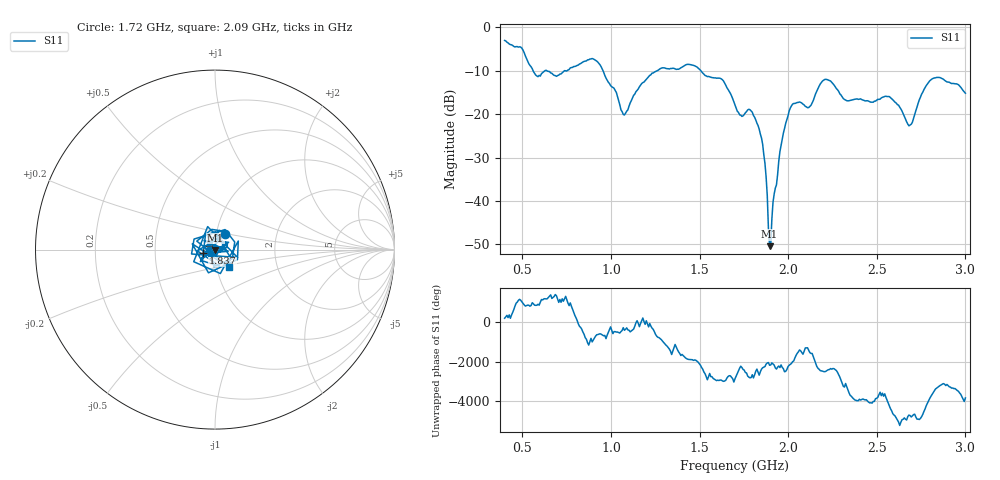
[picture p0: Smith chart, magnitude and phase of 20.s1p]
!Created with skrf (http://scikit-rf.org).
# Hz S RI R 50.0
!freq ReS11 ImS11
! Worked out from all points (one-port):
!   401 points, 400 MHz to 3 GHz, reference 50 ohm
!   lowest |S11| = -50.4 dB at 1.895 GHz (marker M1), VSWR 1.01, Z = 50.3 - j0.139 ohm
!   |S11| at or under -10 dB: 638.5 MHz to 736.9 MHz (98.46 MHz wide, 14.3 % of centre); 955.3 MHz to 1.26 GHz (304.8 MHz wide, 27.5 % of centre); 1.507 GHz to end of sweep (the widest 3 of 5)
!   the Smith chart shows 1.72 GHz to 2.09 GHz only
!   S11 on the Smith chart (normalised r, x): 1.72 GHz: 1.11, +0.20; 1.837 GHz: 0.88, -0.04; 2.09 GHz: 1.15, -0.23
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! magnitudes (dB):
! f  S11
! 400 MHz  -3.0
! 497.5 MHz  -4.8
! 582 MHz  -11.2
! 725 MHz  -10.5
! 907 MHz  -7.4
! 1.05 GHz  -17.8
! 1.083 GHz  -19.8
! 1.226 GHz  -10.9
! 1.375 GHz  -9.6
! 1.453 GHz  -8.6
! 1.622 GHz  -11.8
! 1.7 GHz  -17.8
! 1.72 GHz  -19.6
! 1.784 GHz  -19.0
! 1.837 GHz  -23.4
! 1.863 GHz  -29.3
! 1.895 GHz  -50.4
! 1.908 GHz  -44.1
! 1.966 GHz  -25.7
! 2.025 GHz  -17.7
! 2.09 GHz  -17.9
! 2.123 GHz  -18.2
! 2.213 GHz  -12.0
! 2.35 GHz  -16.8
! 2.564 GHz  -15.9
! 2.675 GHz  -22.3
! 2.812 GHz  -11.9
! 3 GHz  -15.2
